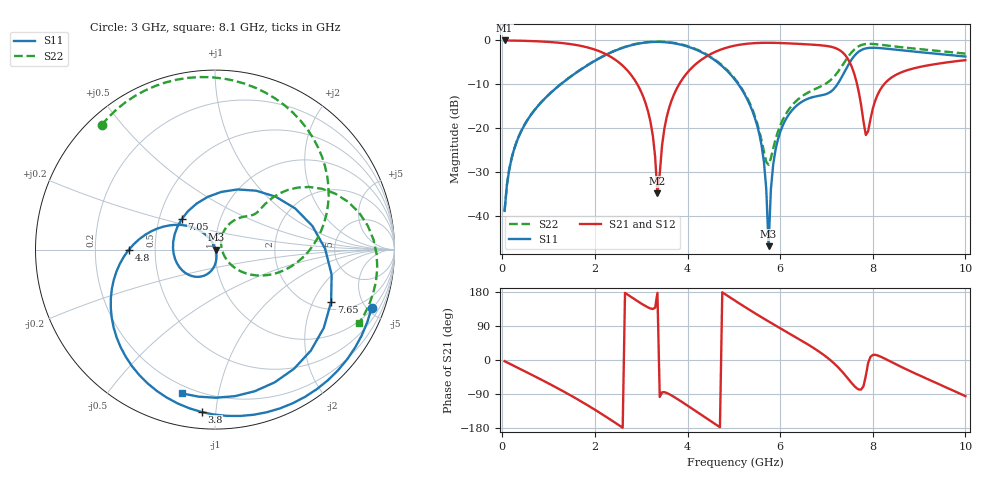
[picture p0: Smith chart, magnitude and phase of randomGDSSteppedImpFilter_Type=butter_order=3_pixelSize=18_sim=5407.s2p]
! freq	dB(S11)	phase(S11)	dB(S12)	phase(S12)
!  dB(S21)	phase(S21)	dB(S22)	phase(S22)
!S-par simulation data
#  GHz  S  DB  R 50
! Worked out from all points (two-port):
!   200 points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, 50 MHz to 10 GHz, reference 50 ohm
!   highest |S21| = -0.01 dB at 50 MHz (marker M1); lowest = -34.9 dB at 3.35 GHz (marker M2)
!   |S21| within 3 dB of the highest: start of sweep to 2.212 GHz; 4.519 GHz to 7.374 GHz (2.855 GHz wide, 48 % of centre)
!   lowest |S11| = -46.9 dB at 5.75 GHz (marker M3), VSWR 1.01, Z = 50.5 - j0.0279 ohm
!   |S11| at or under -10 dB: start of sweep to 1.262 GHz; 5.097 GHz to 7.237 GHz (2.14 GHz wide, 34.7 % of centre)
!   |S22| runs from -38.9 to -0.3 dB; largest |S21 - S12| = 0
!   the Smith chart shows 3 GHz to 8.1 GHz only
!   S11 on the Smith chart (normalised r, x): 3 GHz: 1.08, -5.31; 3.8 GHz: 0.09, -0.92; 4.8 GHz: 0.35, -0.00; 7.05 GHz: 0.65, +0.24; 7.65 GHz: 2.36, -2.78; 8.1 GHz: 0.16, -0.79
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0.05  -38.89 -93.6  -0.01 -3.1  -0.01 -3.1  -38.86 -90.3
0.45  -19.86 -132.3  -0.08 -27.5  -0.08 -27.5  -19.80 -103.7
1.75  -6.27 103.5  -1.36 -112.7  -1.36 -112.7  -6.23 -151.0
2.35  -2.74 43.9  -3.79 -158.5  -3.79 -158.5  -2.69 176.4
3  -0.62 -20.5  -11.76 149.1  -11.76 149.1  -0.55 132.3
3.35  -0.33 -53.8  -34.92 177.1  -34.92 177.1  -0.25 106.4
3.4  -0.34 -58.5  -30.42 -97.5  -30.42 -97.5  -0.26 102.6
3.8  -0.84 -94.7  -10.35 -104.4  -10.35 -104.4  -0.74 72.0
4.8  -6.36 -179.8  -1.79 174.5  -1.79 174.5  -6.19 -5.2
5.05  -9.32 160.0  -1.12 154.6  -1.12 154.6  -9.12 -23.0
5.6  -24.02 115.4  -0.55 112.7  -0.55 112.7  -22.85 -37.9
5.75  -46.94 -3.5  -0.54 101.8  -0.54 101.8  -28.39 17.6
5.95  -22.66 -87.3  -0.57 87.5  -0.57 87.5  -20.86 63.4
6.7  -12.95 -160.1  -0.97 33.4  -0.97 33.4  -11.36 44.4
7.05  -11.98 137.3  -1.34 3.2  -1.34 3.2  -9.39 41.7
7.4  -6.95 40.9  -3.29 -39.4  -3.29 -39.4  -4.80 36.9
7.65  -2.98 -24.3  -9.50 -74.3  -9.50 -74.3  -1.63 14.4
7.85  -1.82 -65.8  -21.59 -41.7  -21.59 -41.7  -0.82 -6.6
8.1  -1.70 -102.8  -12.48 12.3  -12.48 12.3  -0.90 -27.0
8.35  -1.95 -129.7  -8.90 -2.1  -8.90 -2.1  -1.22 -42.2
9.1  -2.76 169.7  -5.87 -45.7  -5.87 -45.7  -2.07 -75.3
10  -3.68 98.5  -4.50 -95.4  -4.50 -95.4  -3.01 -105.4
